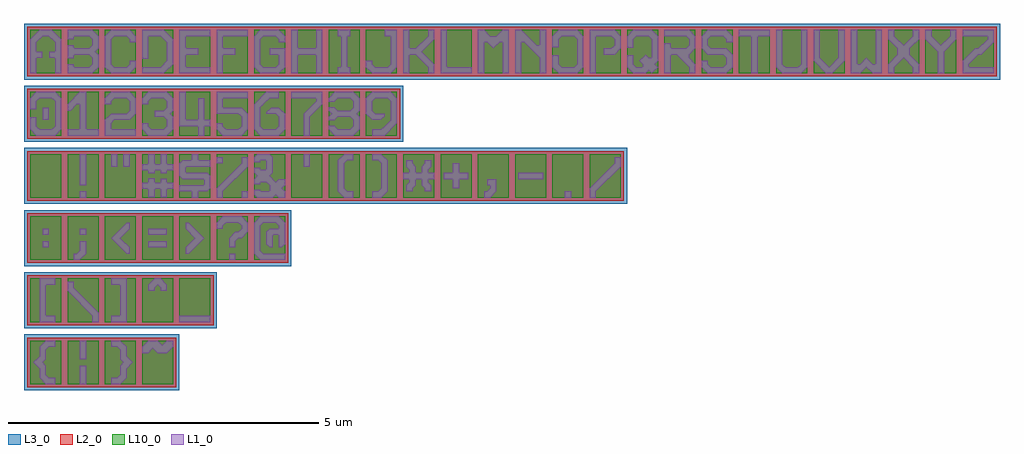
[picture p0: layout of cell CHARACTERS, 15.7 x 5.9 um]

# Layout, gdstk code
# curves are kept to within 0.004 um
import gdstk
lib = gdstk.Library(unit=1e-6, precision=1e-09)
def R(c, l, rs):  # rectangles x0, y0, x1, y1
    for r in rs: c.add(gdstk.rectangle(r[:2], r[2:], *l))
def P(c, l, *ps):  # polygons
    for p in ps: c.add(gdstk.Polygon(p, *l))
L1_0 = (1, 0)
L2_0 = (2, 0)
L3_0 = (3, 0)
L10_0 = (10, 0)

c_0 = lib.new_cell('0')
R(c_0, L1_0, [(0.2,0.25,0.3,0.45)])
P(c_0, L1_0, [(0.1,0),(0,0.1),(0,0.29),(0.1,0.29),(0.1,0.15),(0.15,0.1),(0.35,0.1),(0.4,0.15),(0.4,0.55),(0.35,0.6),(0.15,0.6),(0.1,0.55),(0.1,0.423),(0,0.423),(0,0.6),(0.1,0.7),(0.4,0.7),(0.5,0.6),(0.5,0.1),(0.4,0)])
R(c_0, L2_0, [(-0.05,-0.05,0.55,0.75)])
R(c_0, L3_0, [(-0.1,-0.1,0.6,0.8)])
R(c_0, L10_0, [(0,0,0.5,0.7)])

c_i = lib.new_cell('I')
P(c_i, L1_0, [(0.15,0),(0.15,0.1),(0.2,0.1),(0.2,0.6),(0.15,0.6),(0.15,0.7),(0.35,0.7),(0.35,0.6),(0.3,0.6),(0.3,0.1),(0.35,0.1),(0.35,0)])
R(c_i, L2_0, [(-0.05,-0.05,0.55,0.75)])
R(c_i, L3_0, [(-0.1,-0.1,0.6,0.8)])
R(c_i, L10_0, [(0,0,0.5,0.7)])

c_h = lib.new_cell('H')
P(c_h, L1_0, [(0,0),(0,0.7),(0.1,0.7),(0.1,0.4),(0.4,0.4),(0.4,0.7),(0.5,0.7),(0.5,0),(0.4,0),(0.4,0.3),(0.1,0.3),(0.1,0)])
R(c_h, L2_0, [(-0.05,-0.05,0.55,0.75)])
R(c_h, L3_0, [(-0.1,-0.1,0.6,0.8)])
R(c_h, L10_0, [(0,0,0.5,0.7)])

c_g = lib.new_cell('G')
P(c_g, L1_0, [(0.1,0),(0,0.1),(0,0.6),(0.1,0.7),(0.4,0.7),(0.5,0.6),(0.5,0.5),(0.4,0.5),(0.4,0.55),(0.35,0.6),(0.15,0.6),(0.1,0.55),(0.1,0.15),(0.15,0.1),(0.35,0.1),(0.4,0.15),(0.4,0.3),(0.25,0.3),(0.25,0.4),(0.5,0.4),(0.5,0.1),(0.4,0)])
R(c_g, L2_0, [(-0.05,-0.05,0.55,0.75)])
R(c_g, L3_0, [(-0.1,-0.1,0.6,0.8)])
R(c_g, L10_0, [(0,0,0.5,0.7)])

c_f = lib.new_cell('F')
P(c_f, L1_0, [(0,0),(0,0.7),(0.5,0.7),(0.5,0.6),(0.1,0.6),(0.1,0.4),(0.3,0.4),(0.3,0.3),(0.1,0.3),(0.1,0)])
R(c_f, L2_0, [(-0.05,-0.05,0.55,0.75)])
R(c_f, L3_0, [(-0.1,-0.1,0.6,0.8)])
R(c_f, L10_0, [(0,0,0.5,0.7)])

c_e = lib.new_cell('E')
P(c_e, L1_0, [(0,0),(0,0.7),(0.5,0.7),(0.5,0.6),(0.1,0.6),(0.1,0.4),(0.3,0.4),(0.3,0.3),(0.1,0.3),(0.1,0.1),(0.5,0.1),(0.5,0)])
R(c_e, L2_0, [(-0.05,-0.05,0.55,0.75)])
R(c_e, L3_0, [(-0.1,-0.1,0.6,0.8)])
R(c_e, L10_0, [(0,0,0.5,0.7)])

c_d = lib.new_cell('D')
P(c_d, L1_0, [(0,0),(0,0.1),(0.3,0.1),(0.4,0.2),(0.4,0.5),(0.3,0.6),(0.1,0.6),(0.1,0.237),(0,0.237),(0,0.7),(0.35,0.7),(0.5,0.55),(0.5,0.15),(0.35,0)])
R(c_d, L2_0, [(-0.05,-0.05,0.55,0.75)])
R(c_d, L3_0, [(-0.1,-0.1,0.6,0.8)])
R(c_d, L10_0, [(0,0,0.5,0.7)])

c_c = lib.new_cell('C')
P(c_c, L1_0, [(0.1,0),(0,0.1),(0,0.6),(0.1,0.7),(0.4,0.7),(0.5,0.6),(0.5,0.5),(0.4,0.5),(0.4,0.55),(0.35,0.6),(0.15,0.6),(0.1,0.55),(0.1,0.15),(0.15,0.1),(0.35,0.1),(0.4,0.15),(0.4,0.2),(0.5,0.2),(0.5,0.1),(0.4,0)])
R(c_c, L2_0, [(-0.05,-0.05,0.55,0.75)])
R(c_c, L3_0, [(-0.1,-0.1,0.6,0.8)])
R(c_c, L10_0, [(0,0,0.5,0.7)])

c_b = lib.new_cell('B')
P(c_b, L1_0, [(0,0),(0,0.148),(0.1,0.148),(0.1,0.1),(0.35,0.1),(0.4,0.15),(0.4,0.25),(0.35,0.3),(0.1,0.3),(0.1,0.242),(0,0.242),(0,0.453),(0.1,0.453),(0.1,0.4),(0.35,0.4),(0.4,0.45),(0.4,0.55),(0.35,0.6),(0.1,0.6),(0.1,0.546),(0,0.546),(0,0.7),(0.4,0.7),(0.5,0.6),(0.5,0.4),(0.45,0.35),(0.5,0.3),(0.5,0.1),(0.4,0)])
R(c_b, L2_0, [(-0.05,-0.05,0.55,0.75)])
R(c_b, L3_0, [(-0.1,-0.1,0.6,0.8)])
R(c_b, L10_0, [(0,0,0.5,0.7)])

c_a = lib.new_cell('A')
P(c_a, L1_0, [(0,0),(0,0.55),(0.15,0.7),(0.35,0.7),(0.5,0.55),(0.5,0),(0.4,0),(0.4,0.25),(0.303,0.25),(0.303,0.35),(0.4,0.35),(0.4,0.5),(0.3,0.6),(0.2,0.6),(0.1,0.5),(0.1,0.35),(0.195,0.35),(0.195,0.25),(0.1,0.25),(0.1,0)])
R(c_a, L2_0, [(-0.05,-0.05,0.55,0.75)])
R(c_a, L3_0, [(-0.1,-0.1,0.6,0.8)])
R(c_a, L10_0, [(0,0,0.5,0.7)])

c_j = lib.new_cell('J')
P(c_j, L1_0, [(0.1,0),(0,0.1),(0,0.2),(0.1,0.2),(0.1,0.15),(0.15,0.1),(0.35,0.1),(0.4,0.15),(0.4,0.6),(0.3,0.6),(0.3,0.7),(0.5,0.7),(0.5,0.1),(0.4,0)])
R(c_j, L2_0, [(-0.05,-0.05,0.55,0.75)])
R(c_j, L3_0, [(-0.1,-0.1,0.6,0.8)])
R(c_j, L10_0, [(0,0,0.5,0.7)])

c_k = lib.new_cell('K')
P(c_k, L1_0, [(0,0),(0,0.7),(0.1,0.7),(0.1,0.4),(0.2,0.4),(0.4,0.6),(0.4,0.7),(0.5,0.7),(0.5,0.55),(0.3,0.35),(0.5,0.15),(0.5,0),(0.4,0),(0.4,0.1),(0.2,0.3),(0.1,0.3),(0.1,0)])
R(c_k, L2_0, [(-0.05,-0.05,0.55,0.75)])
R(c_k, L3_0, [(-0.1,-0.1,0.6,0.8)])
R(c_k, L10_0, [(0,0,0.5,0.7)])

c_l = lib.new_cell('L')
P(c_l, L1_0, [(0,0),(0,0.7),(0.1,0.7),(0.1,0.1),(0.5,0.1),(0.5,0)])
R(c_l, L2_0, [(-0.05,-0.05,0.55,0.75)])
R(c_l, L3_0, [(-0.1,-0.1,0.6,0.8)])
R(c_l, L10_0, [(0,0,0.5,0.7)])

c_m = lib.new_cell('M')
P(c_m, L1_0, [(0,0),(0,0.7),(0.1,0.7),(0.2,0.6),(0.3,0.6),(0.4,0.7),(0.5,0.7),(0.5,0),(0.4,0),(0.4,0.5),(0.35,0.5),(0.25,0.4),(0.15,0.5),(0.1,0.5),(0.1,0)])
R(c_m, L2_0, [(-0.05,-0.05,0.55,0.75)])
R(c_m, L3_0, [(-0.1,-0.1,0.6,0.8)])
R(c_m, L10_0, [(0,0,0.5,0.7)])

c_n = lib.new_cell('N')
P(c_n, L1_0, [(0,0),(0,0.7),(0.1,0.7),(0.35,0.45),(0.4,0.45),(0.4,0.7),(0.5,0.7),(0.5,0),(0.4,0),(0.4,0.25),(0.15,0.5),(0.1,0.5),(0.1,0)])
R(c_n, L2_0, [(-0.05,-0.05,0.55,0.75)])
R(c_n, L3_0, [(-0.1,-0.1,0.6,0.8)])
R(c_n, L10_0, [(0,0,0.5,0.7)])

c_o = lib.new_cell('O')
P(c_o, L1_0, [(0.1,0),(0,0.1),(0,0.29),(0.1,0.29),(0.1,0.15),(0.15,0.1),(0.35,0.1),(0.4,0.15),(0.4,0.55),(0.35,0.6),(0.15,0.6),(0.1,0.55),(0.1,0.423),(0,0.423),(0,0.6),(0.1,0.7),(0.4,0.7),(0.5,0.6),(0.5,0.1),(0.4,0)])
R(c_o, L2_0, [(-0.05,-0.05,0.55,0.75)])
R(c_o, L3_0, [(-0.1,-0.1,0.6,0.8)])
R(c_o, L10_0, [(0,0,0.5,0.7)])

c_p = lib.new_cell('P')
P(c_p, L1_0, [(0,0),(0,0.7),(0.4,0.7),(0.5,0.6),(0.5,0.4),(0.4,0.3),(0.228,0.3),(0.228,0.4),(0.35,0.4),(0.4,0.45),(0.4,0.55),(0.35,0.6),(0.1,0.6),(0.1,0)])
R(c_p, L2_0, [(-0.05,-0.05,0.55,0.75)])
R(c_p, L3_0, [(-0.1,-0.1,0.6,0.8)])
R(c_p, L10_0, [(0,0,0.5,0.7)])

c_q = lib.new_cell('Q')
P(c_q, L1_0, [(0.1,0),(0,0.1),(0,0.293),(0.1,0.293),(0.1,0.15),(0.15,0.1),(0.25,0.1),(0.25,0.15),(0.2,0.2),(0.3,0.3),(0.35,0.25),(0.4,0.25),(0.4,0.55),(0.35,0.6),(0.15,0.6),(0.1,0.55),(0.1,0.409),(0,0.409),(0,0.6),(0.1,0.7),(0.4,0.7),(0.5,0.6),(0.5,0.2),(0.45,0.15),(0.5,0.1),(0.4,0),(0.35,0.05),(0.3,0)])
R(c_q, L2_0, [(-0.05,-0.05,0.55,0.75)])
R(c_q, L3_0, [(-0.1,-0.1,0.6,0.8)])
R(c_q, L10_0, [(0,0,0.5,0.7)])

c_r = lib.new_cell('R')
P(c_r, L1_0, [(0,0),(0,0.481),(0.1,0.481),(0.1,0.4),(0.35,0.4),(0.4,0.45),(0.4,0.55),(0.35,0.6),(0,0.6),(0,0.7),(0.4,0.7),(0.5,0.6),(0.5,0.4),(0.4,0.3),(0.4,0.25),(0.5,0.15),(0.5,0),(0.4,0),(0.4,0.1),(0.2,0.3),(0.1,0.3),(0.1,0)])
R(c_r, L2_0, [(-0.05,-0.05,0.55,0.75)])
R(c_r, L3_0, [(-0.1,-0.1,0.6,0.8)])
R(c_r, L10_0, [(0,0,0.5,0.7)])

c_s = lib.new_cell('S')
P(c_s, L1_0, [(0.1,0),(0,0.1),(0,0.2),(0.1,0.2),(0.1,0.15),(0.15,0.1),(0.35,0.1),(0.4,0.15),(0.4,0.25),(0.35,0.3),(0.1,0.3),(0,0.4),(0,0.6),(0.1,0.7),(0.4,0.7),(0.5,0.6),(0.5,0.5),(0.4,0.5),(0.4,0.55),(0.35,0.6),(0.15,0.6),(0.1,0.55),(0.1,0.45),(0.15,0.4),(0.4,0.4),(0.5,0.3),(0.5,0.1),(0.4,0)])
R(c_s, L2_0, [(-0.05,-0.05,0.55,0.75)])
R(c_s, L3_0, [(-0.1,-0.1,0.6,0.8)])
R(c_s, L10_0, [(0,0,0.5,0.7)])

c_t = lib.new_cell('T')
P(c_t, L1_0, [(0.2,0),(0.2,0.6),(0,0.6),(0,0.7),(0.5,0.7),(0.5,0.6),(0.3,0.6),(0.3,0)])
R(c_t, L2_0, [(-0.05,-0.05,0.55,0.75)])
R(c_t, L3_0, [(-0.1,-0.1,0.6,0.8)])
R(c_t, L10_0, [(0,0,0.5,0.7)])

c_u = lib.new_cell('U')
P(c_u, L1_0, [(0.1,0),(0,0.1),(0,0.7),(0.1,0.7),(0.1,0.15),(0.15,0.1),(0.35,0.1),(0.4,0.15),(0.4,0.7),(0.5,0.7),(0.5,0.1),(0.4,0)])
R(c_u, L2_0, [(-0.05,-0.05,0.55,0.75)])
R(c_u, L3_0, [(-0.1,-0.1,0.6,0.8)])
R(c_u, L10_0, [(0,0,0.5,0.7)])

c_v = lib.new_cell('V')
P(c_v, L1_0, [(0.2,0),(0,0.2),(0,0.7),(0.1,0.7),(0.1,0.25),(0.25,0.1),(0.4,0.25),(0.4,0.7),(0.5,0.7),(0.5,0.2),(0.3,0)])
R(c_v, L2_0, [(-0.05,-0.05,0.55,0.75)])
R(c_v, L3_0, [(-0.1,-0.1,0.6,0.8)])
R(c_v, L10_0, [(0,0,0.5,0.7)])

c_w = lib.new_cell('W')
P(c_w, L1_0, [(0,0),(0,0.7),(0.1,0.7),(0.1,0.15),(0.15,0.15),(0.25,0.25),(0.35,0.15),(0.4,0.15),(0.4,0.7),(0.5,0.7),(0.5,0),(0.35,0),(0.25,0.1),(0.15,0)])
R(c_w, L2_0, [(-0.05,-0.05,0.55,0.75)])
R(c_w, L3_0, [(-0.1,-0.1,0.6,0.8)])
R(c_w, L10_0, [(0,0,0.5,0.7)])

c_x = lib.new_cell('X')
P(c_x, L1_0, [(0,0),(0,0.15),(0.15,0.3),(0.15,0.4),(0,0.55),(0,0.7),(0.1,0.7),(0.1,0.6),(0.25,0.45),(0.4,0.6),(0.4,0.7),(0.5,0.7),(0.5,0.55),(0.35,0.4),(0.35,0.3),(0.5,0.15),(0.5,0),(0.4,0),(0.4,0.1),(0.25,0.25),(0.1,0.1),(0.1,0)])
R(c_x, L2_0, [(-0.05,-0.05,0.55,0.75)])
R(c_x, L3_0, [(-0.1,-0.1,0.6,0.8)])
R(c_x, L10_0, [(0,0,0.5,0.7)])

c_y = lib.new_cell('Y')
P(c_y, L1_0, [(0.2,0),(0.2,0.35),(0,0.55),(0,0.7),(0.1,0.7),(0.1,0.6),(0.25,0.45),(0.4,0.6),(0.4,0.7),(0.5,0.7),(0.5,0.55),(0.3,0.35),(0.3,0)])
R(c_y, L2_0, [(-0.05,-0.05,0.55,0.75)])
R(c_y, L3_0, [(-0.1,-0.1,0.6,0.8)])
R(c_y, L10_0, [(0,0,0.5,0.7)])

c_z = lib.new_cell('Z')
P(c_z, L1_0, [(0,0),(0,0.2),(0.2,0.4),(0.25,0.4),(0.4,0.55),(0.4,0.6),(0,0.6),(0,0.7),(0.5,0.7),(0.5,0.5),(0.3,0.3),(0.25,0.3),(0.1,0.15),(0.1,0.1),(0.5,0.1),(0.5,0)])
R(c_z, L2_0, [(-0.05,-0.05,0.55,0.75)])
R(c_z, L3_0, [(-0.1,-0.1,0.6,0.8)])
R(c_z, L10_0, [(0,0,0.5,0.7)])

c_1 = lib.new_cell('1')
P(c_1, L1_0, [(0,0),(0,0.1),(0.2,0.1),(0.2,0.5),(0.15,0.5),(0.05,0.4),(0,0.4),(0,0.5),(0.2,0.7),(0.3,0.7),(0.3,0.1),(0.5,0.1),(0.5,0)])
R(c_1, L2_0, [(-0.05,-0.05,0.55,0.75)])
R(c_1, L3_0, [(-0.1,-0.1,0.6,0.8)])
R(c_1, L10_0, [(0,0,0.5,0.7)])

c_2 = lib.new_cell('2')
P(c_2, L1_0, [(0,0),(0,0.25),(0.1,0.35),(0.35,0.35),(0.4,0.4),(0.4,0.55),(0.35,0.6),(0.15,0.6),(0.1,0.55),(0.1,0.5),(0,0.5),(0,0.6),(0.1,0.7),(0.4,0.7),(0.5,0.6),(0.5,0.35),(0.4,0.25),(0.15,0.25),(0.1,0.2),(0.1,0.1),(0.5,0.1),(0.5,0)])
R(c_2, L2_0, [(-0.05,-0.05,0.55,0.75)])
R(c_2, L3_0, [(-0.1,-0.1,0.6,0.8)])
R(c_2, L10_0, [(0,0,0.5,0.7)])

c_3 = lib.new_cell('3')
P(c_3, L1_0, [(0.1,0),(0,0.1),(0,0.2),(0.1,0.2),(0.1,0.15),(0.15,0.1),(0.35,0.1),(0.4,0.15),(0.4,0.25),(0.35,0.3),(0.2,0.3),(0.2,0.4),(0.35,0.4),(0.4,0.45),(0.4,0.55),(0.35,0.6),(0.15,0.6),(0.1,0.55),(0.1,0.5),(0,0.5),(0,0.6),(0.1,0.7),(0.4,0.7),(0.5,0.6),(0.5,0.4),(0.45,0.35),(0.5,0.3),(0.5,0.1),(0.4,0)])
R(c_3, L2_0, [(-0.05,-0.05,0.55,0.75)])
R(c_3, L3_0, [(-0.1,-0.1,0.6,0.8)])
R(c_3, L10_0, [(0,0,0.5,0.7)])

c_4 = lib.new_cell('4')
P(c_4, L1_0, [(0.3,0),(0.3,0.15),(0,0.15),(0,0.7),(0.1,0.7),(0.1,0.25),(0.3,0.25),(0.3,0.6),(0.4,0.6),(0.4,0.25),(0.5,0.25),(0.5,0.15),(0.4,0.15),(0.4,0)])
R(c_4, L2_0, [(-0.05,-0.05,0.55,0.75)])
R(c_4, L3_0, [(-0.1,-0.1,0.6,0.8)])
R(c_4, L10_0, [(0,0,0.5,0.7)])

c_5 = lib.new_cell('5')
P(c_5, L1_0, [(0.1,0),(0,0.1),(0,0.2),(0.1,0.2),(0.1,0.15),(0.15,0.1),(0.35,0.1),(0.4,0.15),(0.4,0.3),(0.35,0.35),(0,0.35),(0,0.7),(0.5,0.7),(0.5,0.6),(0.1,0.6),(0.1,0.45),(0.4,0.45),(0.5,0.35),(0.5,0.1),(0.4,0)])
R(c_5, L2_0, [(-0.05,-0.05,0.55,0.75)])
R(c_5, L3_0, [(-0.1,-0.1,0.6,0.8)])
R(c_5, L10_0, [(0,0,0.5,0.7)])

c_6 = lib.new_cell('6')
P(c_6, L1_0, [(0.1,0),(0,0.1),(0,0.5),(0.2,0.7),(0.4,0.7),(0.4,0.6),(0.25,0.6),(0.1,0.453),(0.1,0.15),(0.15,0.1),(0.35,0.1),(0.4,0.15),(0.4,0.3),(0.35,0.35),(0.2,0.35),(0.2,0.372),(0.28,0.45),(0.4,0.45),(0.5,0.35),(0.5,0.1),(0.4,0)])
R(c_6, L2_0, [(-0.05,-0.05,0.55,0.75)])
R(c_6, L3_0, [(-0.1,-0.1,0.6,0.8)])
R(c_6, L10_0, [(0,0,0.5,0.7)])

c_7 = lib.new_cell('7')
P(c_7, L1_0, [(0.2,0),(0.2,0.35),(0.4,0.55),(0.4,0.6),(0,0.6),(0,0.7),(0.5,0.7),(0.5,0.5),(0.3,0.3),(0.3,0)])
R(c_7, L2_0, [(-0.05,-0.05,0.55,0.75)])
R(c_7, L3_0, [(-0.1,-0.1,0.6,0.8)])
R(c_7, L10_0, [(0,0,0.5,0.7)])

c_8 = lib.new_cell('8')
P(c_8, L1_0, [(0.1,0),(0,0.1),(0,0.154),(0.1,0.154),(0.15,0.1),(0.35,0.1),(0.4,0.15),(0.4,0.25),(0.35,0.3),(0.15,0.3),(0.1,0.247),(0,0.247),(0,0.3),(0.05,0.35),(0,0.4),(0,0.455),(0.1,0.455),(0.15,0.4),(0.35,0.4),(0.4,0.45),(0.4,0.55),(0.35,0.6),(0.15,0.6),(0.1,0.546),(0,0.546),(0,0.6),(0.1,0.7),(0.4,0.7),(0.5,0.6),(0.5,0.4),(0.45,0.35),(0.5,0.3),(0.5,0.1),(0.4,0)])
R(c_8, L2_0, [(-0.05,-0.05,0.55,0.75)])
R(c_8, L3_0, [(-0.1,-0.1,0.6,0.8)])
R(c_8, L10_0, [(0,0,0.5,0.7)])

c_9 = lib.new_cell('9')
P(c_9, L1_0, [(0.1,0),(0.1,0.1),(0.25,0.1),(0.4,0.242),(0.4,0.55),(0.35,0.6),(0.15,0.6),(0.1,0.55),(0.1,0.4),(0.15,0.35),(0.305,0.35),(0.305,0.311),(0.241,0.25),(0.1,0.25),(0,0.35),(0,0.6),(0.1,0.7),(0.4,0.7),(0.5,0.6),(0.5,0.2),(0.3,0)])
R(c_9, L2_0, [(-0.05,-0.05,0.55,0.75)])
R(c_9, L3_0, [(-0.1,-0.1,0.6,0.8)])
R(c_9, L10_0, [(0,0,0.5,0.7)])

c_032 = lib.new_cell('032')
R(c_032, L2_0, [(-0.05,-0.05,0.55,0.75)])
R(c_032, L3_0, [(-0.1,-0.1,0.6,0.8)])
R(c_032, L10_0, [(0,0,0.5,0.7)])

c_045 = lib.new_cell('045')
R(c_045, L1_0, [(0.05,0.3,0.45,0.4)])
R(c_045, L2_0, [(-0.05,-0.05,0.55,0.75)])
R(c_045, L3_0, [(-0.1,-0.1,0.6,0.8)])
R(c_045, L10_0, [(0,0,0.5,0.7)])

c_046 = lib.new_cell('046')
R(c_046, L1_0, [(0.2,0,0.3,0.1)])
R(c_046, L2_0, [(-0.05,-0.05,0.55,0.75)])
R(c_046, L3_0, [(-0.1,-0.1,0.6,0.8)])
R(c_046, L10_0, [(0,0,0.5,0.7)])

c_043 = lib.new_cell('043')
P(c_043, L1_0, [(0.2,0.15),(0.2,0.3),(0.05,0.3),(0.05,0.4),(0.2,0.4),(0.2,0.55),(0.3,0.55),(0.3,0.4),(0.45,0.4),(0.45,0.3),(0.3,0.3),(0.3,0.15)])
R(c_043, L2_0, [(-0.05,-0.05,0.55,0.75)])
R(c_043, L3_0, [(-0.1,-0.1,0.6,0.8)])
R(c_043, L10_0, [(0,0,0.5,0.7)])

c_095 = lib.new_cell('095')
R(c_095, L1_0, [(0,0,0.5,0.1)])
R(c_095, L2_0, [(-0.05,-0.05,0.55,0.75)])
R(c_095, L3_0, [(-0.1,-0.1,0.6,0.8)])
R(c_095, L10_0, [(0,0,0.5,0.7)])

c_040 = lib.new_cell('040')
P(c_040, L1_0, [(0.25,0),(0.15,0.1),(0.15,0.6),(0.25,0.7),(0.4,0.7),(0.4,0.6),(0.3,0.6),(0.25,0.55),(0.25,0.15),(0.3,0.1),(0.4,0.1),(0.4,0)])
R(c_040, L2_0, [(-0.05,-0.05,0.55,0.75)])
R(c_040, L3_0, [(-0.1,-0.1,0.6,0.8)])
R(c_040, L10_0, [(0,0,0.5,0.7)])

c_041 = lib.new_cell('041')
P(c_041, L1_0, [(0.1,0),(0.1,0.1),(0.2,0.1),(0.25,0.15),(0.25,0.55),(0.2,0.6),(0.1,0.6),(0.1,0.7),(0.25,0.7),(0.35,0.6),(0.35,0.1),(0.25,0)])
R(c_041, L2_0, [(-0.05,-0.05,0.55,0.75)])
R(c_041, L3_0, [(-0.1,-0.1,0.6,0.8)])
R(c_041, L10_0, [(0,0,0.5,0.7)])

c_091 = lib.new_cell('091')
P(c_091, L1_0, [(0.15,0),(0.15,0.7),(0.4,0.7),(0.4,0.6),(0.25,0.6),(0.25,0.1),(0.4,0.1),(0.4,0)])
R(c_091, L2_0, [(-0.05,-0.05,0.55,0.75)])
R(c_091, L3_0, [(-0.1,-0.1,0.6,0.8)])
R(c_091, L10_0, [(0,0,0.5,0.7)])

c_093 = lib.new_cell('093')
P(c_093, L1_0, [(0.1,0),(0.1,0.1),(0.25,0.1),(0.25,0.6),(0.1,0.6),(0.1,0.7),(0.35,0.7),(0.35,0)])
R(c_093, L2_0, [(-0.05,-0.05,0.55,0.75)])
R(c_093, L3_0, [(-0.1,-0.1,0.6,0.8)])
R(c_093, L10_0, [(0,0,0.5,0.7)])

c_042 = lib.new_cell('042')
P(c_042, L1_0, [(0.05,0.1),(0.05,0.2),(0.1,0.25),(0.1,0.3),(0,0.3),(0,0.4),(0.1,0.4),(0.1,0.45),(0.05,0.5),(0.05,0.6),(0.15,0.6),(0.15,0.55),(0.2,0.5),(0.2,0.4),(0.3,0.4),(0.3,0.5),(0.35,0.55),(0.35,0.6),(0.45,0.6),(0.45,0.5),(0.4,0.45),(0.4,0.4),(0.5,0.4),(0.5,0.3),(0.4,0.3),(0.4,0.25),(0.45,0.2),(0.45,0.1),(0.35,0.1),(0.35,0.15),(0.3,0.2),(0.3,0.3),(0.2,0.3),(0.2,0.2),(0.15,0.15),(0.15,0.1)])
R(c_042, L2_0, [(-0.05,-0.05,0.55,0.75)])
R(c_042, L3_0, [(-0.1,-0.1,0.6,0.8)])
R(c_042, L10_0, [(0,0,0.5,0.7)])

c_035 = lib.new_cell('035')
P(c_035, L1_0, [(0.1,0.003),(0.1,0.143),(0,0.143),(0,0.242),(0.1,0.242),(0.1,0.312),(0.2,0.312),(0.2,0.242),(0.3,0.242),(0.3,0.308),(0.4,0.308),(0.4,0.242),(0.5,0.242),(0.5,0.143),(0.4,0.143),(0.4,0.003),(0.3,0.003),(0.3,0.143),(0.2,0.143),(0.2,0.003)],
  [(0.3,0.391),(0.3,0.441),(0.2,0.441),(0.2,0.393),(0.1,0.393),(0.1,0.441),(0.001,0.441),(0.001,0.541),(0.1,0.541),(0.1,0.699),(0.2,0.699),(0.2,0.541),(0.3,0.541),(0.3,0.7),(0.4,0.7),(0.4,0.541),(0.5,0.541),(0.5,0.441),(0.4,0.441),(0.4,0.391)])
R(c_035, L2_0, [(-0.05,-0.05,0.55,0.75)])
R(c_035, L3_0, [(-0.1,-0.1,0.6,0.8)])
R(c_035, L10_0, [(0,0,0.5,0.7)])

c_126 = lib.new_cell('126')
P(c_126, L1_0, [(0,0.5),(0,0.6),(0.1,0.7),(0.25,0.7),(0.325,0.625),(0.4,0.7),(0.5,0.7),(0.5,0.6),(0.4,0.5),(0.25,0.5),(0.175,0.575),(0.1,0.5)])
R(c_126, L2_0, [(-0.05,-0.05,0.55,0.75)])
R(c_126, L3_0, [(-0.1,-0.1,0.6,0.8)])
R(c_126, L10_0, [(0,0,0.5,0.7)])

c_064 = lib.new_cell('064')
P(c_064, L1_0, [(0.1,0),(0,0.1),(0,0.6),(0.1,0.7),(0.4,0.7),(0.5,0.6),(0.5,0.25),(0.45,0.2),(0.4,0.2),(0.4,0.4),(0.3,0.4),(0.3,0.2),(0.25,0.2),(0.2,0.25),(0.2,0.45),(0.25,0.5),(0.4,0.5),(0.4,0.55),(0.35,0.6),(0.15,0.6),(0.1,0.55),(0.1,0.15),(0.15,0.1),(0.5,0.1),(0.5,0)])
R(c_064, L2_0, [(-0.05,-0.05,0.55,0.75)])
R(c_064, L3_0, [(-0.1,-0.1,0.6,0.8)])
R(c_064, L10_0, [(0,0,0.5,0.7)])

c_094 = lib.new_cell('094')
P(c_094, L1_0, [(0.1,0.5),(0.1,0.6),(0.2,0.7),(0.3,0.7),(0.4,0.6),(0.4,0.5),(0.3,0.5),(0.3,0.55),(0.25,0.6),(0.2,0.55),(0.2,0.5)])
R(c_094, L2_0, [(-0.05,-0.05,0.55,0.75)])
R(c_094, L3_0, [(-0.1,-0.1,0.6,0.8)])
R(c_094, L10_0, [(0,0,0.5,0.7)])

c_034 = lib.new_cell('034')
R(c_034, L1_0, [(0.1,0.5,0.2,0.7), (0.3,0.5,0.4,0.7)])
R(c_034, L2_0, [(-0.05,-0.05,0.55,0.75)])
R(c_034, L3_0, [(-0.1,-0.1,0.6,0.8)])
R(c_034, L10_0, [(0,0,0.5,0.7)])

c_092 = lib.new_cell('092')
P(c_092, L1_0, [(0.4,0),(0.4,0.1),(0,0.5),(0,0.65),(0.1,0.65),(0.1,0.55),(0.5,0.15),(0.5,0)])
R(c_092, L2_0, [(-0.05,-0.05,0.55,0.75)])
R(c_092, L3_0, [(-0.1,-0.1,0.6,0.8)])
R(c_092, L10_0, [(0,0,0.5,0.7)])

c_047 = lib.new_cell('047')
P(c_047, L1_0, [(0,0),(0,0.15),(0.4,0.55),(0.4,0.65),(0.5,0.65),(0.5,0.5),(0.1,0.1),(0.1,0)])
R(c_047, L2_0, [(-0.05,-0.05,0.55,0.75)])
R(c_047, L3_0, [(-0.1,-0.1,0.6,0.8)])
R(c_047, L10_0, [(0,0,0.5,0.7)])

c_036 = lib.new_cell('036')
P(c_036, L1_0, [(0.2,0),(0.2,0.1),(0,0.1),(0,0.2),(0.4,0.2),(0.4,0.3),(0.05,0.3),(0,0.35),(0,0.55),(0.05,0.6),(0.2,0.6),(0.2,0.7),(0.3,0.7),(0.3,0.6),(0.5,0.6),(0.5,0.5),(0.1,0.5),(0.1,0.4),(0.45,0.4),(0.5,0.35),(0.5,0.15),(0.45,0.1),(0.3,0.1),(0.3,0)])
R(c_036, L2_0, [(-0.05,-0.05,0.55,0.75)])
R(c_036, L3_0, [(-0.1,-0.1,0.6,0.8)])
R(c_036, L10_0, [(0,0,0.5,0.7)])

c_033 = lib.new_cell('033')
R(c_033, L1_0, [(0.2,0,0.3,0.1), (0.2,0.2,0.3,0.7)])
R(c_033, L2_0, [(-0.05,-0.05,0.55,0.75)])
R(c_033, L3_0, [(-0.1,-0.1,0.6,0.8)])
R(c_033, L10_0, [(0,0,0.5,0.7)])

c_038 = lib.new_cell('038')
P(c_038, L1_0, [(0.05,0),(0,0.05),(0,0.127),(0.1,0.127),(0.1,0.1),(0.25,0.1),(0.25,0.2),(0.2,0.25),(0.1,0.25),(0.1,0.218),(0,0.218),(0,0.3),(0.05,0.35),(0,0.4),(0,0.479),(0.1,0.479),(0.1,0.45),(0.2,0.45),(0.2,0.6),(0.1,0.6),(0.1,0.571),(0,0.571),(0,0.65),(0.05,0.7),(0.25,0.7),(0.3,0.65),(0.3,0.4),(0.25,0.35),(0.35,0.25),(0.4,0.3),(0.5,0.3),(0.5,0.2),(0.45,0.15),(0.5,0.1),(0.5,0),(0.4,0),(0.35,0.05),(0.3,0)])
R(c_038, L2_0, [(-0.05,-0.05,0.55,0.75)])
R(c_038, L3_0, [(-0.1,-0.1,0.6,0.8)])
R(c_038, L10_0, [(0,0,0.5,0.7)])

c_061 = lib.new_cell('061')
R(c_061, L1_0, [(0.1,0.2,0.4,0.3), (0.1,0.4,0.4,0.5)])
R(c_061, L2_0, [(-0.05,-0.05,0.55,0.75)])
R(c_061, L3_0, [(-0.1,-0.1,0.6,0.8)])
R(c_061, L10_0, [(0,0,0.5,0.7)])

c_063 = lib.new_cell('063')
R(c_063, L1_0, [(0.2,0,0.3,0.1)])
P(c_063, L1_0, [(0.2,0.2),(0.2,0.35),(0.3,0.45),(0.35,0.45),(0.4,0.5),(0.4,0.55),(0.35,0.6),(0.15,0.6),(0.1,0.55),(0.1,0.5),(0,0.5),(0,0.6),(0.1,0.7),(0.4,0.7),(0.5,0.6),(0.5,0.45),(0.4,0.35),(0.35,0.35),(0.3,0.3),(0.3,0.2)])
R(c_063, L2_0, [(-0.05,-0.05,0.55,0.75)])
R(c_063, L3_0, [(-0.1,-0.1,0.6,0.8)])
R(c_063, L10_0, [(0,0,0.5,0.7)])

c_039 = lib.new_cell('039')
R(c_039, L1_0, [(0.2,0.5,0.3,0.7)])
R(c_039, L2_0, [(-0.05,-0.05,0.55,0.75)])
R(c_039, L3_0, [(-0.1,-0.1,0.6,0.8)])
R(c_039, L10_0, [(0,0,0.5,0.7)])

c_058 = lib.new_cell('058')
R(c_058, L1_0, [(0.2,0.2,0.3,0.3), (0.2,0.4,0.3,0.5)])
R(c_058, L2_0, [(-0.05,-0.05,0.55,0.75)])
R(c_058, L3_0, [(-0.1,-0.1,0.6,0.8)])
R(c_058, L10_0, [(0,0,0.5,0.7)])

c_059 = lib.new_cell('059')
R(c_059, L1_0, [(0.2,0.4,0.3,0.5)])
P(c_059, L1_0, [(0.1,0),(0.1,0.1),(0.15,0.1),(0.2,0.15),(0.2,0.3),(0.3,0.3),(0.3,0.1),(0.2,0)])
R(c_059, L2_0, [(-0.05,-0.05,0.55,0.75)])
R(c_059, L3_0, [(-0.1,-0.1,0.6,0.8)])
R(c_059, L10_0, [(0,0,0.5,0.7)])

c_044 = lib.new_cell('044')
P(c_044, L1_0, [(0.1,0),(0.1,0.1),(0.15,0.1),(0.2,0.15),(0.2,0.2),(0.15,0.2),(0.15,0.3),(0.3,0.3),(0.3,0.1),(0.2,0)])
R(c_044, L2_0, [(-0.05,-0.05,0.55,0.75)])
R(c_044, L3_0, [(-0.1,-0.1,0.6,0.8)])
R(c_044, L10_0, [(0,0,0.5,0.7)])

c_037 = lib.new_cell('037')
R(c_037, L1_0, [(0.4,0,0.5,0.1), (0,0.55,0.1,0.65)])
P(c_037, L1_0, [(0,0),(0,0.15),(0.4,0.55),(0.4,0.65),(0.5,0.65),(0.5,0.5),(0.1,0.1),(0.1,0)])
R(c_037, L2_0, [(-0.05,-0.05,0.55,0.75)])
R(c_037, L3_0, [(-0.1,-0.1,0.6,0.8)])
R(c_037, L10_0, [(0,0,0.5,0.7)])

c_060 = lib.new_cell('060')
P(c_060, L1_0, [(0.35,0.1),(0.1,0.35),(0.35,0.6),(0.4,0.6),(0.4,0.5),(0.25,0.35),(0.4,0.2),(0.4,0.1)])
R(c_060, L2_0, [(-0.05,-0.05,0.55,0.75)])
R(c_060, L3_0, [(-0.1,-0.1,0.6,0.8)])
R(c_060, L10_0, [(0,0,0.5,0.7)])

c_062 = lib.new_cell('062')
P(c_062, L1_0, [(0.1,0.1),(0.1,0.2),(0.25,0.35),(0.1,0.5),(0.1,0.6),(0.15,0.6),(0.4,0.35),(0.15,0.1)])
R(c_062, L2_0, [(-0.05,-0.05,0.55,0.75)])
R(c_062, L3_0, [(-0.1,-0.1,0.6,0.8)])
R(c_062, L10_0, [(0,0,0.5,0.7)])

c_123 = lib.new_cell('123')
P(c_123, L1_0, [(0.25,0),(0.15,0.1),(0.15,0.25),(0.05,0.35),(0.15,0.45),(0.15,0.6),(0.25,0.7),(0.4,0.7),(0.4,0.6),(0.3,0.6),(0.25,0.55),(0.25,0.4),(0.2,0.35),(0.25,0.3),(0.25,0.15),(0.3,0.1),(0.4,0.1),(0.4,0)])
R(c_123, L2_0, [(-0.05,-0.05,0.55,0.75)])
R(c_123, L3_0, [(-0.1,-0.1,0.6,0.8)])
R(c_123, L10_0, [(0,0,0.5,0.7)])

c_124 = lib.new_cell('124')
R(c_124, L1_0, [(0.2,0,0.3,0.3), (0.2,0.4,0.3,0.7)])
R(c_124, L2_0, [(-0.05,-0.05,0.55,0.75)])
R(c_124, L3_0, [(-0.1,-0.1,0.6,0.8)])
R(c_124, L10_0, [(0,0,0.5,0.7)])

c_125 = lib.new_cell('125')
P(c_125, L1_0, [(0.1,0),(0.1,0.1),(0.2,0.1),(0.25,0.15),(0.25,0.3),(0.3,0.35),(0.25,0.4),(0.25,0.55),(0.2,0.6),(0.1,0.6),(0.1,0.7),(0.25,0.7),(0.35,0.6),(0.35,0.45),(0.45,0.35),(0.35,0.25),(0.35,0.1),(0.25,0)])
R(c_125, L2_0, [(-0.05,-0.05,0.55,0.75)])
R(c_125, L3_0, [(-0.1,-0.1,0.6,0.8)])
R(c_125, L10_0, [(0,0,0.5,0.7)])

characters = lib.new_cell('CHARACTERS')
characters.add(gdstk.Reference(c_0, (0,-1)))
characters.add(gdstk.Reference(c_i, (4.8,0)))
characters.add(gdstk.Reference(c_h, (4.2,0)))
characters.add(gdstk.Reference(c_g, (3.6,0)))
characters.add(gdstk.Reference(c_f, (3,0)))
characters.add(gdstk.Reference(c_e, (2.4,0)))
characters.add(gdstk.Reference(c_d, (1.8,0)))
characters.add(gdstk.Reference(c_c, (1.2,0)))
characters.add(gdstk.Reference(c_b, (0.6,0)))
characters.add(gdstk.Reference(c_a, (0,0)))
characters.add(gdstk.Reference(c_j, (5.4,0)))
characters.add(gdstk.Reference(c_k, (6,0)))
characters.add(gdstk.Reference(c_l, (6.6,0)))
characters.add(gdstk.Reference(c_m, (7.2,0)))
characters.add(gdstk.Reference(c_n, (7.8,0)))
characters.add(gdstk.Reference(c_o, (8.4,0)))
characters.add(gdstk.Reference(c_p, (9,0)))
characters.add(gdstk.Reference(c_q, (9.6,0)))
characters.add(gdstk.Reference(c_r, (10.2,0)))
characters.add(gdstk.Reference(c_s, (10.8,0)))
characters.add(gdstk.Reference(c_t, (11.4,0)))
characters.add(gdstk.Reference(c_u, (12,0)))
characters.add(gdstk.Reference(c_v, (12.6,0)))
characters.add(gdstk.Reference(c_w, (13.2,0)))
characters.add(gdstk.Reference(c_x, (13.8,0)))
characters.add(gdstk.Reference(c_y, (14.4,0)))
characters.add(gdstk.Reference(c_z, (15,0)))
characters.add(gdstk.Reference(c_1, (0.6,-1)))
characters.add(gdstk.Reference(c_2, (1.2,-1)))
characters.add(gdstk.Reference(c_3, (1.8,-1)))
characters.add(gdstk.Reference(c_4, (2.4,-1)))
characters.add(gdstk.Reference(c_5, (3,-1)))
characters.add(gdstk.Reference(c_6, (3.6,-1)))
characters.add(gdstk.Reference(c_7, (4.2,-1)))
characters.add(gdstk.Reference(c_8, (4.8,-1)))
characters.add(gdstk.Reference(c_9, (5.4,-1)))
characters.add(gdstk.Reference(c_032, (0,-2)))
characters.add(gdstk.Reference(c_045, (7.8,-2)))
characters.add(gdstk.Reference(c_046, (8.4,-2)))
characters.add(gdstk.Reference(c_043, (6.6,-2)))
characters.add(gdstk.Reference(c_095, (2.4,-4)))
characters.add(gdstk.Reference(c_040, (4.8,-2)))
characters.add(gdstk.Reference(c_041, (5.4,-2)))
characters.add(gdstk.Reference(c_091, (0,-4)))
characters.add(gdstk.Reference(c_093, (1.2,-4)))
characters.add(gdstk.Reference(c_042, (6,-2)))
characters.add(gdstk.Reference(c_035, (1.8,-2)))
characters.add(gdstk.Reference(c_126, (1.8,-5)))
characters.add(gdstk.Reference(c_064, (3.6,-3)))
characters.add(gdstk.Reference(c_094, (1.8,-4)))
characters.add(gdstk.Reference(c_034, (1.2,-2)))
characters.add(gdstk.Reference(c_092, (0.6,-4)))
characters.add(gdstk.Reference(c_047, (9,-2)))
characters.add(gdstk.Reference(c_036, (2.4,-2)))
characters.add(gdstk.Reference(c_033, (0.6,-2)))
characters.add(gdstk.Reference(c_038, (3.6,-2)))
characters.add(gdstk.Reference(c_061, (1.8,-3)))
characters.add(gdstk.Reference(c_063, (3,-3)))
characters.add(gdstk.Reference(c_039, (4.2,-2)))
characters.add(gdstk.Reference(c_058, (0,-3)))
characters.add(gdstk.Reference(c_059, (0.6,-3)))
characters.add(gdstk.Reference(c_044, (7.2,-2)))
characters.add(gdstk.Reference(c_037, (3,-2)))
characters.add(gdstk.Reference(c_060, (1.2,-3)))
characters.add(gdstk.Reference(c_062, (2.4,-3)))
characters.add(gdstk.Reference(c_123, (0,-5)))
characters.add(gdstk.Reference(c_124, (0.6,-5)))
characters.add(gdstk.Reference(c_125, (1.2,-5)))

lib.write_gds('CHARACTERS.gds')
